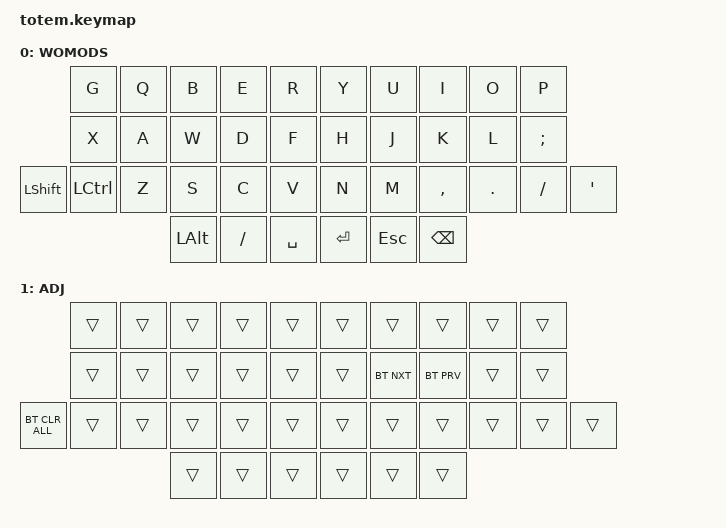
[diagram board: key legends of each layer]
//
//                                                        ▀▀▀▀▀     ▀▀▀▀▀          ▀▀█▀▀
//                                                        ▄▀▀▀▄  ▄  ▄▀▀▀▄  ▄  ▄▀▀▀▄  █  ▄▀▀▀▄
//                                                        █   █  █  █   █  █  █   █  █  █   █
//                                                         ▀▀▀   █   ▀▀▀   █   ▀▀▀   ▀   ▀▀▀
//                                                               █      ▄▄▄█▄▄▄    █   █  
//                                                               ▀      █  █  █     █▄█
//                                                             ▀▀▀▀▀    █  █  █      ▀
//                                                                      ▀  ▀  ▀
//
// ▄▄▄▄▄▄▄▄▄▄▄▄▄▄▄▄▄▄▄▄▄▄▄▄▄▄▄▄▄▄▄▄▄▄▄▄▄▄▄▄▄▄▄▄▄▄▄▄▄▄▄▄▄▄▄▄▄▄▄▄▄▄▄▄▄▄▄▄▄▄▄▄▄▄▄▄▄▄▄▄▄▄▄▄▄▄▄▄▄▄▄▄▄▄▄▄▄▄▄▄▄▄▄▄▄▄▄▄▄▄▄▄▄▄▄▄▄▄▄▄▄▄▄▄▄▄▄▄▄▄▄▄▄▄▄▄▄▄▄▄▄▄▄▄▄▄▄▄▄

#include <behaviors.dtsi>
#include <dt-bindings/zmk/bt.h>
#include <dt-bindings/zmk/keys.h>

#define BASE 0
#define NAV  1
#define SYM  2
#define ADJ  3
#define TVP1 4
#define TVP2 5

&mt {
    quick-tap-ms = <100>;
    global-quick-tap;
    flavor = "tap-preferred";
    tapping-term-ms = <170>;
};

/ {
    combos {
        compatible = "zmk,combos";

        esc {
            bindings = <&kp ESC>;
            key-positions = <0 1>;
            timeout-ms = <30>;
        };

        blt {
            bindings = <&mo 1>;
            key-positions = <0 1 2 3>;
        };

        Map {
            bindings = <&kp M>;
            key-positions = <23 24>;
            timeout-ms = <30>;
        };
    };

    macros {
        gif: gif {
            label = "giphy";
            compatible = "zmk,behavior-macro";
            #binding-cells = <0>;
            bindings =
                <&macro_press>,
                <&kp LSHFT>,
                <&macro_tap>,
                <&kp N2>,
                <&macro_release>,
                <&kp LSHFT>,
                <&macro_tap>,
                <&kp G &kp I &kp F>;
        };
    };

    keymap {
        compatible = "zmk,keymap";

        // ▄▄▄▄▄▄▄▄▄▄▄▄▄▄▄▄▄▄▄▄▄▄▄▄▄▄▄▄▄▄▄▄▄▄▄▄▄▄▄▄▄▄▄▄▄▄▄▄▄▄▄▄▄▄▄▄▄▄▄▄▄▄▄▄▄▄▄▄▄▄▄▄▄▄▄▄▄▄▄▄▄▄▄▄▄▄▄▄▄▄▄▄▄▄▄▄▄▄▄▄▄▄▄▄▄▄▄▄▄▄▄▄▄▄▄▄▄▄▄▄▄▄▄▄▄▄▄▄▄▄▄▄▄▄▄▄▄▄▄▄▄▄▄▄▄▄▄▄▄

        modless_layer {
            label = "WOMODS";
            bindings = <
                &kp G      &kp Q  &kp B     &kp E     &kp R        &kp Y    &kp U    &kp I      &kp O    &kp P
                &kp X      &kp A  &kp W     &kp D     &kp F        &kp H    &kp J    &kp K      &kp L    &kp SEMICOLON
&kp LEFT_SHIFT  &kp LCTRL  &kp Z  &kp S     &kp C     &kp V        &kp N    &kp M    &kp COMMA  &kp DOT  &kp FSLH       &kp SQT
                                  &kp LALT  &kp FSLH  &kp SPACE    &kp RET  &kp ESC  &kp BSPC
            >;
        };

        adjust_layer {
            // ┏━━━━━━━━━━━━━━━━━━━━━━━━━━━━━━━━━━━━━━━┓

            label = "ADJ";

            // ┗━━━━━━━━━━━━━━━━━━━━━━━━━━━━━━━━━━━━━━━┛
            //             ┏━━━━━━━━━━━┳━━━━━━━━━━━┳━━━━━━━━━━━┳━━━━━━━━━━━┳━━━━━━━━━━━┓   ┏━━━━━━━━━━━┳━━━━━━━━━━━┳━━━━━━━━━━━┳━━━━━━━━━━━┳━━━━━━━━━━━┓
            //             ┃   RESET   ┃ BT CLEAR  ┃  OUT TOG  ┃           ┃           ┃   ┃           ┃    F7     ┃    F8     ┃    F9     ┃    F12    ┃
            //             ┣━━━━━━━━━━━╋━━━━━━━━━━━╋━━━━━━━━━━━╋━━━━━━━━━━━╋━━━━━━━━━━━┫   ┣━━━━━━━━━━━╋━━━━━━━━━━━╋━━━━━━━━━━━╋━━━━━━━━━━━╋━━━━━━━━━━━┫
            //             ┃ BOOTLOAD  ┃ BT NEXT   ┃           ┃           ┃           ┃   ┃           ┃    F4     ┃    F5     ┃    F6     ┃    F11    ┃
            // ┏━━━━━━━━━━━╋━━━━━━━━━━━╋━━━━━━━━━━━╋━━━━━━━━━━━╋━━━━━━━━━━━╋━━━━━━━━━━━┫   ┣━━━━━━━━━━━╋━━━━━━━━━━━╋━━━━━━━━━━━╋━━━━━━━━━━━╋━━━━━━━━━━━╋━━━━━━━━━━━┓
            // ┃           ┃           ┃ BT PREV   ┃           ┃           ┃           ┃   ┃           ┃    F1     ┃    F2     ┃    F3     ┃    F10    ┃           ┃
            // ┗━━━━━━━━━━━┻━━━━━━━━━━━┻━━━━━━━━━━━╋━━━━━━━━━━━╋━━━━━━━━━━━╋━━━━━━━━━━━┫   ┣━━━━━━━━━━━╋━━━━━━━━━━━╋━━━━━━━━━━━╋━━━━━━━━━━━┻━━━━━━━━━━━┻━━━━━━━━━━━┛
            //                                     ┃           ┃           ┃           ┃   ┃           ┃           ┃           ┃
            //                                     ┗━━━━━━━━━━━┻━━━━━━━━━━━┻━━━━━━━━━━━┛   ┗━━━━━━━━━━━┻━━━━━━━━━━━┻━━━━━━━━━━━┛

            bindings = <
                &trans  &trans  &trans  &trans  &trans    &trans  &trans      &trans      &trans  &trans
                &trans  &trans  &trans  &trans  &trans    &trans  &bt BT_NXT  &bt BT_PRV  &trans  &trans
&bt BT_CLR_ALL  &trans  &trans  &trans  &trans  &trans    &trans  &trans      &trans      &trans  &trans  &trans
                                &trans  &trans  &trans    &trans  &trans      &trans
            >;
        };
    };
};
